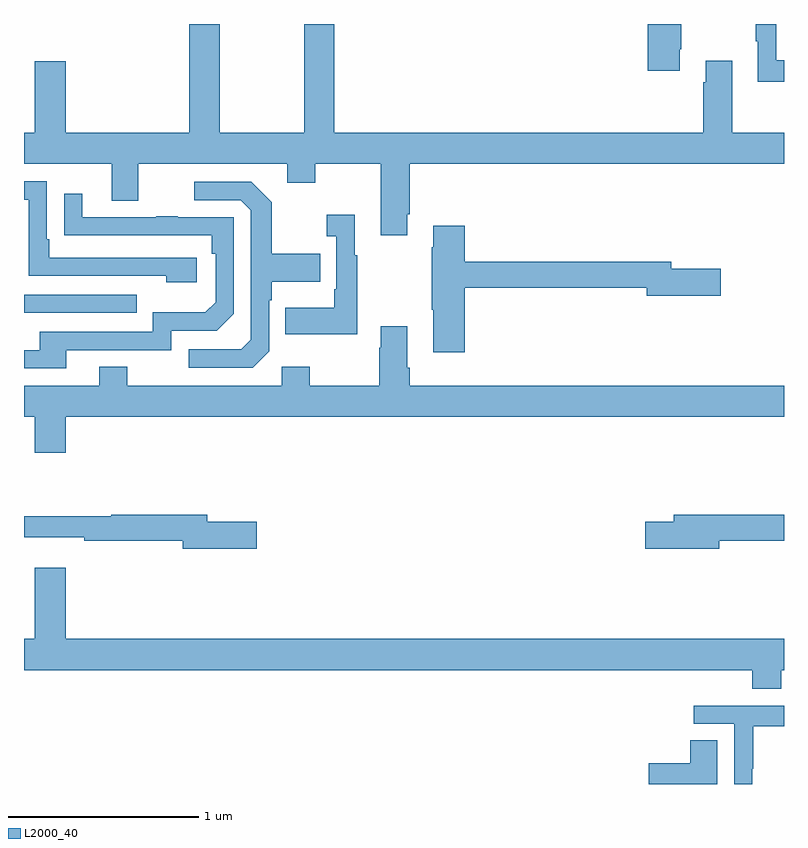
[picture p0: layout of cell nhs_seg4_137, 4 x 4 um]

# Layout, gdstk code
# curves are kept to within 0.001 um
import gdstk
lib = gdstk.Library(unit=1e-6, precision=1e-09)
def R(c, l, rs):  # rectangles x0, y0, x1, y1
    for r in rs: c.add(gdstk.rectangle(r[:2], r[2:], *l))
def P(c, l, *ps):  # polygons
    for p in ps: c.add(gdstk.Polygon(p, *l))
L2000_40 = (2000, 40)

nhs_seg4_137 = lib.new_cell('nhs_seg4_137')
R(nhs_seg4_137, L2000_40, [(117,785.379,117.593,785.475)])
P(nhs_seg4_137, L2000_40, [(120.451,786.766),(120.459,786.766),(120.459,786.9),(120.284,786.9),(120.284,786.654),(120.451,786.654)],
  [(121,786.71),(120.96,786.71),(120.96,786.9),(120.852,786.9),(120.852,786.809),(120.863,786.809),(120.863,786.597),(121,786.597)],
  [(119.017,785.899),(119.03,785.899),(119.03,786.164),(121,786.164),(121,786.328),(120.727,786.328),(120.727,786.706),(120.587,786.706),(120.587,786.593),(120.575,786.593),(120.575,786.328),(118.634,786.328),(118.634,786.9),(118.474,786.9),(118.474,786.328),(118.029,786.328),(118.029,786.9),(117.869,786.9),(117.869,786.328),(117.22,786.328),(117.22,786.703),(117.056,786.703),(117.056,786.328),(117,786.328),(117,786.164),(117.461,786.164),(117.461,785.97),(117.601,785.97),(117.601,786.164),(118.385,786.164),(118.385,786.065),(118.533,786.065),(118.533,786.164),(118.877,786.164),(118.877,785.787),(119.017,785.787)],
  [(117.91,785.67),(117.133,785.67),(117.133,785.767),(117.12,785.767),(117.12,786.072),(117,786.072),(117,785.976),(117.024,785.976),(117.024,785.574),(117.749,785.574),(117.749,785.54),(117.91,785.54)],
  [(118.29,785.178),(118.29,785.447),(118.303,785.447),(118.303,785.543),(118.559,785.543),(118.559,785.691),(118.303,785.691),(118.303,785.963),(118.197,786.069),(117.897,786.069),(117.897,785.973),(118.14,785.973),(118.194,785.919),(118.194,785.238),(118.143,785.187),(117.867,785.187),(117.867,785.091),(118.203,785.091)],
  [(117.223,785.184),(117.774,785.184),(117.774,785.286),(118.014,785.286),(118.104,785.376),(118.104,785.883),(117.809,785.883),(117.809,785.888),(117.697,785.888),(117.697,785.883),(117.307,785.883),(117.307,786.007),(117.211,786.007),(117.211,785.788),(117.988,785.787),(117.988,785.69),(118.008,785.69),(118.008,785.436),(117.955,785.383),(117.678,785.383),(117.678,785.28),(117.083,785.28),(117.083,785.184),(117,785.184),(117,785.088),(117.223,785.088)],
  [(118.753,785.683),(118.741,785.683),(118.741,785.896),(118.593,785.896),(118.593,785.783),(118.644,785.783),(118.644,785.503),(118.632,785.503),(118.632,785.407),(118.375,785.407),(118.375,785.267),(118.753,785.267)],
  [(119.321,785.512),(120.278,785.512),(120.278,785.47),(120.667,785.47),(120.667,785.612),(120.406,785.612),(120.406,785.648),(119.321,785.648),(119.321,785.839),(119.153,785.839),(119.153,785.726),(119.146,785.726),(119.146,785.395),(119.153,785.395),(119.153,785.172),(119.321,785.172)],
  [(117.22,784.832),(121,784.832),(121,784.996),(119.03,784.996),(119.03,785.092),(119.017,785.092),(119.017,785.308),(118.877,785.308),(118.877,785.195),(118.87,785.195),(118.87,784.996),(118.503,784.996),(118.503,785.095),(118.356,785.095),(118.356,784.996),(117.543,784.996),(117.543,785.095),(117.395,785.095),(117.395,784.996),(117,784.996),(117,784.832),(117.056,784.832),(117.056,784.644),(117.22,784.644)],
  [(120.658,784.18),(121,784.18),(121,784.316),(120.419,784.316),(120.419,784.28),(120.27,784.28),(120.27,784.138),(120.658,784.138)],
  [(118.225,784.28),(117.964,784.28),(117.964,784.316),(117.46,784.316),(117.46,784.309),(117,784.309),(117,784.199),(117.316,784.199),(117.316,784.18),(117.836,784.18),(117.836,784.138),(118.225,784.138)],
  [(120.985,783.5),(121,783.5),(121,783.664),(117.22,783.664),(117.22,784.039),(117.056,784.039),(117.056,783.664),(117,783.664),(117,783.5),(120.833,783.5),(120.833,783.401),(120.985,783.401)],
  [(120.834,782.98),(120.837,782.98),(120.837,783.204),(121,783.204),(121,783.312),(120.525,783.312),(120.525,783.216),(120.738,783.216),(120.738,782.9),(120.834,782.9)],
  [(120.649,783.131),(120.506,783.131),(120.506,783.008),(120.288,783.008),(120.288,782.9),(120.649,782.9)])

lib.write_gds('nhs_seg4_137.gds')
